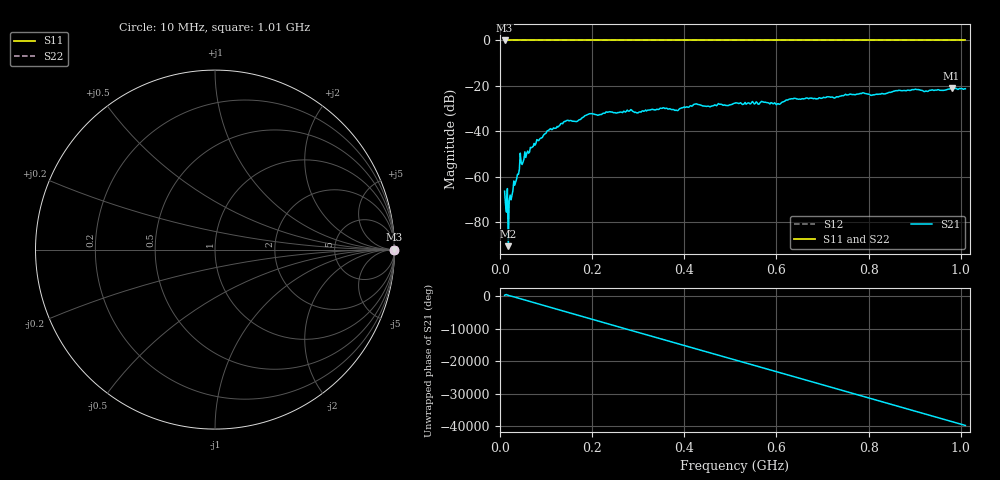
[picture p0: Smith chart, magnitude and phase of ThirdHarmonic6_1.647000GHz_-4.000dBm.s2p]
! 8/16/2025 7:42:33 PM
! C:\ANRITSUVNA\TEMP\TEMP.S2P
! CHANNEL.1
! TR.MEASUREMENT
! RAW.DATA
! RF.CORRECTION.OFF
! AVERAGING.OFF
! IF.BANDWIDTH: 5KHZ
! SWEEPTYPE:  FREQ.SWEEP(Linear)
! Reference Plane Port Info
! PORT:  PORT1  PORT2
! DISTANCE:  0  m  0  m
! TIME:  0  s  0  s
! PHASE.OFFSET:  0  deg.  0  deg.
! LOSS:  0  dB  0  dB
! REF.LOSS:  0  dB  0  dB
! REF.FREQ:  0  Hz  0  Hz
! Power Info
! POWER:  -20  dBm  -20  dBm
! EFF.POWER:  -20  dBm  -20  dBm
! SOURCE.ATTEN:  0  dB  0  dB
! TEST.ATTEN:  0  dB  0  dB
# GHZ S RI R 50.0
! FREQ.GHZ  S11RE  S11IM  S21RE  S21IM  S12RE  S12IM  S22RE  S22IM
!; PortSelection: Port_12
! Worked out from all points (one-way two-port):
!   501 points, 10 MHz to 1.01 GHz, reference 50 ohm
!   highest |S21| = -21.01 dB at 980 MHz (marker M1); lowest = -90.6 dB at 18 MHz (marker M2)
!   lowest |S11| = 0.0 dB at 10 MHz (marker M3)
!   |S11| at or under -10 dB: nowhere
!   |S22| runs from 0.0 to 0.0 dB; largest |S21 - S12| = 1.1
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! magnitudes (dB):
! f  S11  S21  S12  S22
! 10 MHz  0.0  -66.4  0.0  0.0
! 12 MHz  0.0  -72.3  0.0  0.0
! 16 MHz  0.0  -65.2  0.0  0.0
! 18 MHz  0.0  -90.6  0.0  0.0
! 22 MHz  0.0  -68.1  0.0  0.0
! 26 MHz  0.0  -68.1  0.0  0.0
! 38 MHz  0.0  -58.9  0.0  0.0
! 42 MHz  0.0  -56.8  0.0  0.0
! 70 MHz  0.0  -47.0  0.0  0.0
! 106 MHz  0.0  -39.5  0.0  0.0
! 144 MHz  0.0  -35.3  0.0  0.0
! 178 MHz  0.0  -34.1  0.0  0.0
! 196 MHz  0.0  -32.2  0.0  0.0
! 344 MHz  0.0  -30.4  0.0  0.0
! 382 MHz  0.0  -30.7  0.0  0.0
! 510 MHz  0.0  -27.6  0.0  0.0
! 604 MHz  0.0  -27.8  0.0  0.0
! 630 MHz  0.0  -25.8  0.0  0.0
! 678 MHz  0.0  -25.5  0.0  0.0
! 844 MHz  0.0  -22.9  0.0  0.0
! 980 MHz  0.0  -21.0  0.0  0.0
! 1.01 GHz  0.0  -21.3  0.0  0.0
